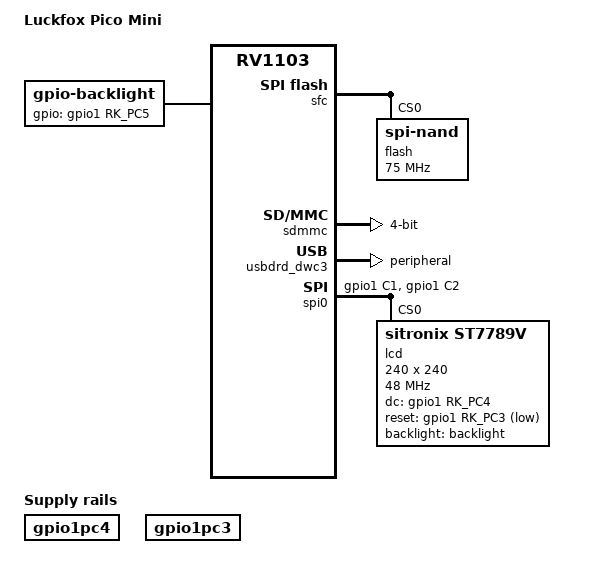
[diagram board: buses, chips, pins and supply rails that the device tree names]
// SPDX-License-Identifier: (GPL-2.0+ OR MIT)
/*
 * Copyright (c) 2023 Luckfox Electronics Co., Ltd.
 */

/dts-v1/;

#include "rv1103.dtsi"
#include "rv1106-evb.dtsi"
#include "rv1103-luckfox-pico-ipc.dtsi"

/ {
	model = "Luckfox Pico Mini";
	compatible = "rockchip,rv1103g-38x38-ipc-v10", "rockchip,rv1103";

	// /*LCD_CS*/
	// gpio1pc0:gpio1pc0 {
	// 	compatible = "regulator-fixed";
	// 	pinctrl-names = "default";
	// 	pinctrl-0 = <&gpio1_pc0>;
	// 	regulator-name = "gpio1_pc0";
	// 	regulator-always-on;
	// };

	/*LCD_BL*/
	backlight:backlight{        
        compatible = "gpio-backlight";
        pinctrl-names = "default";
        pinctrl-0 = <&gpio1_pc5>;
        gpios = <&gpio1 RK_PC5 GPIO_ACTIVE_HIGH>;
        default-on;
    };

	/*LCD_DC*/
	gpio1pc4:gpio1pc4 {
		compatible = "regulator-fixed";
		pinctrl-names = "default";
		pinctrl-0 = <&gpio1_pc4>;
		regulator-name = "gpio1_pc4";
		regulator-always-on;
	};
 
	/*LCD_RES*/
	gpio1pc3:gpio1pc3 {
		compatible = "regulator-fixed";
		pinctrl-names = "default";
		pinctrl-0 = <&gpio1_pc3>;
		regulator-name = "gpio1_pc3";
		regulator-always-on;
	};
};

/**********SFC**********/
&sfc {
	status = "okay";
	flash@0 {
		compatible = "spi-nand";
		reg = <0>;
		spi-max-frequency = <75000000>;
		spi-rx-bus-width = <4>;
		spi-tx-bus-width = <1>;
	};
};

/**********SDMMC**********/
&sdmmc {
	max-frequency = <50000000>;
	no-sdio;
	no-mmc;
	bus-width = <4>;
	cap-mmc-highspeed;
	cap-sd-highspeed;
	disable-wp;
	pinctrl-names = "default";
	pinctrl-0 = <&sdmmc0_clk &sdmmc0_cmd &sdmmc0_det &sdmmc0_bus4>;
	status = "okay";
};

/**********ETH**********/
&gmac {
	status = "disabled";
};

/**********USB**********/
&usbdrd_dwc3 {
	status = "okay";
	dr_mode = "peripheral";
};

/**********SPI**********/


&pinctrl {
	// /*LCD_CS*/
	// gpio1-pc0 {
    //    	gpio1_pc0:gpio1-pc0 {
    //    			rockchip,pins = <1 RK_PC0 RK_FUNC_GPIO &pcfg_pull_none>;
    //     };
    // };
 
	/*LCD_BL*/
	gpio1-pc5 {
		gpio1_pc5:gpio1-pc5 {
			rockchip,pins =	<1 RK_PC5 RK_FUNC_GPIO &pcfg_pull_none>;
		};
	};
 
	/*LCD_DC*/
   	gpio1-pc4 {
        gpio1_pc4:gpio1-pc4 {
       		rockchip,pins = <1 RK_PC4 RK_FUNC_GPIO &pcfg_pull_none>;
        };
  	};
 
	/*LCD_RES*/
	gpio1-pc3 {
        gpio1_pc3:gpio1-pc3 {
            rockchip,pins = <1 RK_PC3 RK_FUNC_GPIO &pcfg_pull_none>;
        };
    };
 
	spi0 {
		/omit-if-no-ref/
		spi0m0_pins: spi0m0-pins {
	   		rockchip,pins =
			/* spi0_clk_m0 */
			<1 RK_PC1 4 &pcfg_pull_none>,
			/* spie_miso_m0 */
			/* <1 RK_PC3 6 &pcfg_pull_none>, */
			/* spi_mosi_m0 */
			<1 RK_PC2 6 &pcfg_pull_none>;
		};
	};
};

/* SPI0_M0 */
&spi0 {
	status = "okay";
	pinctrl-names = "default";
	pinctrl-0 = <&spi0m0_pins>;
	// cs-gpios = <&gpio1 RK_PC0 1>;
	// cs-gpios = <&gpio1 26 1>;
	#address-cells = <1>;
	#size-cells = <0>;
	lcd: lcd@0{
		status = "okay";
		compatible = "sitronix,st7789v"; 
		reg = <0>;
 
		spi-max-frequency = <48000000>;
		spi-cpol;
		spi-cpha;
		width = <240>;
		height = <240>;
		rotate = <0>;				// 旋转角度，lcd驱动里会读取并设置对应寄存器
		fps = <60>;
		rgb;
		buswidth = <8>;
 
		// cs-gpios = <&gpio1 RK_PC0 GPIO_ACTIVE_LOW>;
        backlight = <&backlight>;
		dc-gpios = <&gpio1 RK_PC4 GPIO_ACTIVE_HIGH>;
		reset-gpios = <&gpio1 RK_PC3 GPIO_ACTIVE_LOW>;
 
		debug = <0x0>;
	};
};

/**********I2C**********/
/* I2C3_M1 */
&i2c3 {
	status = "disabled";
	clock-frequency = <100000>;
};

/**********UART**********/
/* UART3_M1 */
&uart3 {
	status = "disabled";
};

/* UART4_M1 */
&uart4 {
	status = "disabled";
};

/**********PWM**********/
/* PWM1_M0 */
&pwm1 {
	status = "disabled";
};
